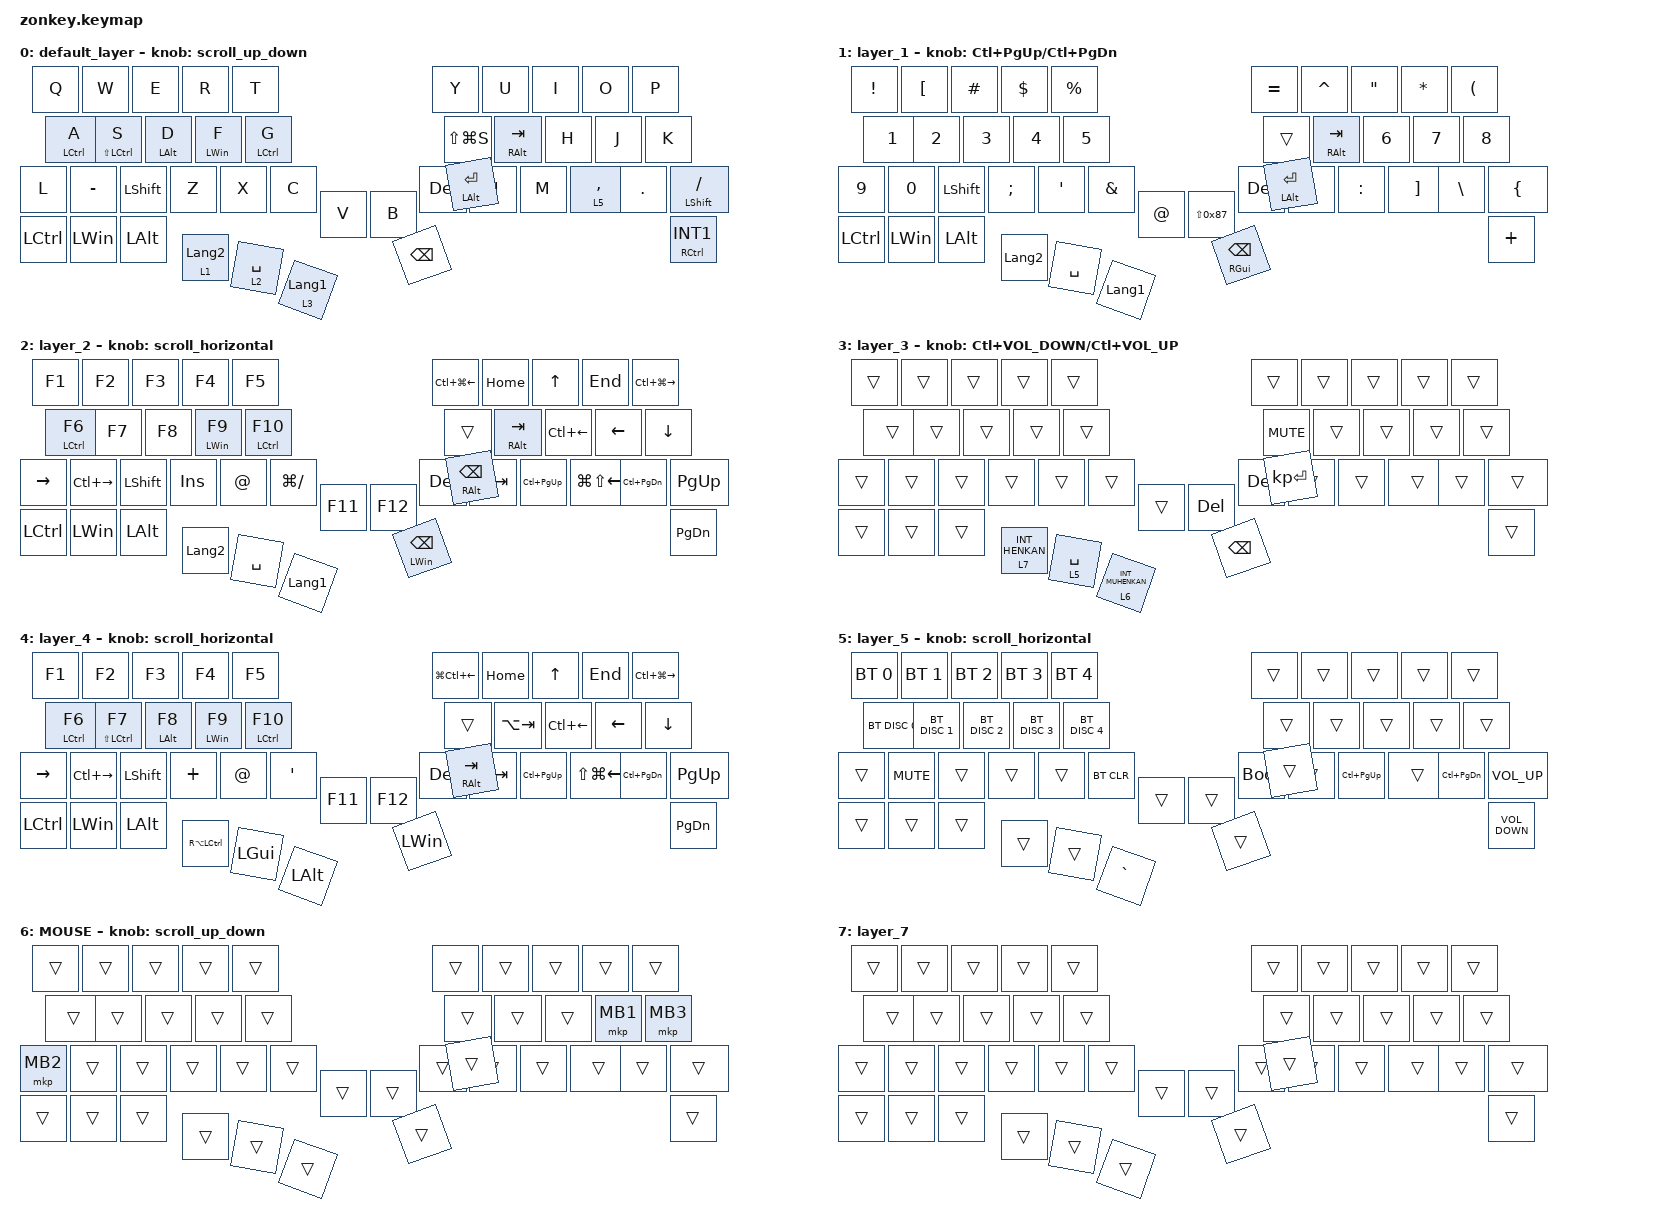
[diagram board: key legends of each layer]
#include <physical_layouts.dtsi>
#include <input/processors.dtsi>
#include <behaviors.dtsi>
#include <dt-bindings/zmk/bt.h>
#include <dt-bindings/zmk/keys.h>
#include <dt-bindings/zmk/pointing.h>

#define ZMK_POINTING_DEFAULT_SCRL_VAL 100
#define DFb 0
#define JIS 1
#define BT 4
#define MOUSE 6
#define JP_DQUOTE       AT                // "
#define JP_AMPERSAND    CARET             // &
#define JP_QUOTE        AMPERSAND         // '
#define JP_EQUAL        UNDER             // =
#define JP_CARET        EQUAL             // ^
#define JP_YEN          0x89              // ¥
#define JP_PLUS         COLON             // +
#define JP_TILDE        PLUS              // ~
#define JP_PIPE         LS(0x89)          // |
#define JP_AT           LEFT_BRACKET      // @
#define JP_COLON        SINGLE_QUOTE      // :
#define JP_ASTERISK     DOUBLE_QUOTES     // *
#define JP_BACKQUOTE    LEFT_BRACE        // `
#define JP_UNDERSCORE   LS(0x87)          // _
#define JP_LBRACKET     RIGHT_BRACKET     // [
#define JP_RBRACKET     BACKSLASH         // ]
#define JP_LPAREN       ASTERISK          // (
#define JP_RPAREN       LEFT_PARENTHESIS  // )
#define JP_LBRACEp       RIGHT_BRACE       // {
#define JP_RBRACE       PIPE              // }
#define JP_KANA         LANGUAGE_1        // かな
#define JP_EISU         LANGUAGE_2        // 英数
#define JP_HANZEN       GRAVE             // 半角/全角
#define JP_BSLH  INT1         // (backslash)

// &mkp_input_listener { input-processors = <&zip_temp_layer 6 250>; };

&mt {
    flavor = "balanced";
    quick-tap-ms = <0>;
};

/ {
    combos {
        compatible = "zmk,combos";

        tap_mb4 {
            bindings = <&mkp MB4>;
            key-positions = <19 18>;
        };

        tap_mb5 {
            bindings = <&mkp MB5>;
            key-positions = <20 19>;
        };

        tap_esc {
            bindings = <&kp ESCAPE>;
            key-positions = <1 0>;
        };

        tap_shift_caps {
            bindings = <&kp LS(CAPS)>;
            key-positions = <23 24>;
        };
    };

    macros {
        to_layer_0: to_layer_0 {
            compatible = "zmk,behavior-macro-one-param";
            #binding-cells = <1>;
            bindings = <&to 0 &macro_param_1to1 &kp MACRO_PLACEHOLDER>;
            label = "TO_LAYER_0";
        };

        new_macro: new_macro {
            compatible = "zmk,behavior-macro";
            #binding-cells = <0>;
            bindings = <&none>;
            label = "NEW_MACRO";
        };

        exit_AML: exit_AML {
            compatible = "zmk,behavior-macro";
            wait-ms = <0>;
            tap-ms = <0>;
            #binding-cells = <0>;
            bindings = <&tog_off 6>;
            label = "exit_AML";
        };

        kp_exit_AML: kp_exit_AML {
            compatible = "zmk,behavior-macro-one-param";
            wait-ms = <0>;
            tap-ms = <0>;
            #binding-cells = <1>;
            bindings = <&macro_param_1to1 &kp MACRO_PLACEHOLDER &exit_AML>;
            label = "KP_exit_AML";
        };
    };

    behaviors {
        lt_to_layer_0: lt_to_layer_0 {
            compatible = "zmk,behavior-hold-tap";
            label = "LAYER_TAP_TO_0";
            bindings = <&mo>, <&to_layer_0>;

            #binding-cells = <2>;
            tapping-term-ms = <200>;
        };

        mo2: mo2 {
            compatible = "zmk,behavior-mod-morph";
            #binding-cells = <0>;
            bindings = <&kp N2>, <&kp AT>;

            mods = <(MOD_LSFT|MOD_RSFT)>;
        };

        mo6: mo6 {
            compatible = "zmk,behavior-mod-morph";
            #binding-cells = <0>;
            bindings = <&kp N6>, <&kp CARET>;

            mods = <(MOD_LSFT|MOD_RSFT)>;
        };

        mo7: mo7 {
            compatible = "zmk,behavior-mod-morph";
            #binding-cells = <0>;
            bindings = <&kp N7>, <&kp AMPS>;

            mods = <(MOD_LSFT|MOD_RSFT)>;
        };

        mo8: mo8 {
            compatible = "zmk,behavior-mod-morph";
            #binding-cells = <0>;
            bindings = <&kp N8>, <&kp ASTRK>;

            mods = <(MOD_LSFT|MOD_RSFT)>;
        };

        mo9: mo9 {
            compatible = "zmk,behavior-mod-morph";
            #binding-cells = <0>;
            bindings = <&kp N9>, <&kp LPAR>;

            mods = <(MOD_LSFT|MOD_RSFT)>;
        };

        mo0: mo0 {
            compatible = "zmk,behavior-mod-morph";
            #binding-cells = <0>;
            bindings = <&kp N0>, <&kp LS(N9)>;

            mods = <(MOD_LSFT|MOD_RSFT)>;
        };

        moA: moA {
            compatible = "zmk,behavior-mod-morph";
            #binding-cells = <0>;
            bindings = <&kp MINUS>, <&kp UNDERSCORE>;

            mods = <(MOD_LSFT|MOD_RSFT)>;
        };

        moB: moB {
            compatible = "zmk,behavior-mod-morph";
            #binding-cells = <0>;
            bindings = <&kp EQUAL>, <&kp PLUS>;

            mods = <(MOD_LSFT|MOD_RSFT)>;
        };

        moC: moC {
            compatible = "zmk,behavior-mod-morph";
            #binding-cells = <0>;
            bindings = <&kp INT3>, <&kp JP_PIPE>;

            mods = <(MOD_LSFT|MOD_RSFT)>;
        };

        moD: moD {
            compatible = "zmk,behavior-mod-morph";
            #binding-cells = <0>;
            bindings = <&kp LBKT>, <&kp LBRC>;

            mods = <(MOD_LSFT|MOD_RSFT)>;
        };

        moE: moE {
            compatible = "zmk,behavior-mod-morph";
            #binding-cells = <0>;
            bindings = <&kp RBKT>, <&kp RBRC>;

            mods = <(MOD_LSFT|MOD_RSFT)>;
        };

        moF: moF {
            compatible = "zmk,behavior-mod-morph";
            #binding-cells = <0>;
            bindings = <&kp SEMI>, <&kp KP_PLUS>;

            mods = <(MOD_LSFT|MOD_RSFT)>;
        };

        moG: moG {
            compatible = "zmk,behavior-mod-morph";
            #binding-cells = <0>;
            bindings = <&kp APOSTROPHE>, <&kp DQT>;

            mods = <(MOD_LSFT|MOD_RSFT)>;
        };

        moH: moH {
            compatible = "zmk,behavior-mod-morph";
            #binding-cells = <0>;
            bindings = <&kp BACKSLASH>, <&kp TILDE2>;

            mods = <(MOD_LSFT|MOD_RSFT)>;
        };

        moI: moI {
            compatible = "zmk,behavior-mod-morph";
            #binding-cells = <0>;
            bindings = <&msc SCRL_DOWN>, <&msc SCRL_UP>;

            mods = <(MOD_LSFT|MOD_RSFT)>;
        };

        tog_off: toggle_layer_off {
            compatible = "zmk,behavior-toggle-layer";
            #binding-cells = <1>;
            display-name = "Toggle Layer Off";
            toggle-mode = "off";
        };

        scroll_up_down: behavior_sensor_rotate_mouse_wheel_up_down {
            compatible = "zmk,behavior-sensor-rotate";
            #sensor-binding-cells = <0>;
            bindings = <&msc SCRL_DOWN>, <&msc SCRL_UP>;

            tap-ms = <20>;
        };

        scroll_horizontal: behavior_sensor_rotate_mouse_wheel {
            compatible = "zmk,behavior-sensor-rotate";
            #sensor-binding-cells = <0>;
            bindings = <&msc SCRL_RIGHT>, <&msc SCRL_LEFT>;

            tap-ms = <20>;
        };
    };

    keymap {
        compatible = "zmk,keymap";

        default_layer {
            bindings = <
&kp Q               &kp W                   &kp E           &kp R             &kp T                                                      &kp Y          &kp U               &kp I        &kp O       &kp P
&mt LEFT_CONTROL A  &mt LS(LEFT_CONTROL) S  &mt LEFT_ALT D  &mt LEFT_WIN F    &mt LEFT_CONTROL G  &kp LS(LG(S))       &mt RIGHT_ALT TAB  &kp H          &kp J               &kp K        &kp L       &kp MINUS
&kp LEFT_SHIFT      &kp Z                   &kp X           &kp C             &kp V               &kp B               &kp DELETE         &kp N          &kp M               &lt 5 COMMA  &kp PERIOD  &mt LEFT_SHIFT SLASH
&kp LCTRL           &kp LEFT_WIN            &kp LEFT_ALT    &lt 1 LANGUAGE_2  &lt 2 SPACE         &lt 3 LANGUAGE_1                       &kp BACKSPACE  &mt LEFT_ALT ENTER                                                 &mt RIGHT_CONTROL INT1
            >;

            sensor-bindings = <&scroll_up_down>;
        };

        layer_1 {
            bindings = <
&kp EXCLAMATION   &kp LEFT_BRACKET  &kp HASH          &kp DOLLAR      &kp PERCENT                                           &kp EQUAL                &kp CARET           &kp DOUBLE_QUOTES  &kp ASTRK      &kp LEFT_PARENTHESIS
&kp NUMBER_1      &kp NUMBER_2      &kp NUMBER_3      &kp NUMBER_4    &kp NUMBER_5  &trans               &mt RIGHT_ALT TAB  &kp NUMBER_6             &kp NUMBER_7        &kp NUMBER_8       &kp NUMBER_9   &kp NUMBER_0
&kp LEFT_SHIFT    &kp SEMICOLON     &kp SINGLE_QUOTE  &kp AMPERSAND   &kp AT_SIGN   &kp JP_UNDERSCORE    &kp DEL            &kp UNDER                &kp COLON           &kp RIGHT_BRACKET  &kp BACKSLASH  &kp LEFT_BRACE
&kp LEFT_CONTROL  &kp LEFT_WIN      &kp LEFT_ALT      &kp LANGUAGE_2  &kp SPACE     &kp LANGUAGE_1                          &mt RIGHT_GUI BACKSPACE  &mt LEFT_ALT ENTER                                                          &kp PLUS
            >;

            sensor-bindings = <&inc_dec_kp LC(PAGE_UP) LC(PAGE_DOWN)>;
        };

        layer_2 {
            bindings = <
&kp F1               &kp F2                   &kp F3           &kp F4           &kp F5                                                     &kp LC(LG(LEFT_ARROW))  &kp HOME                 &kp UP_ARROW            &kp END            &kp LC(LG(RIGHT_ARROW))
&mt LEFT_CONTROL F6  &kp F7  &kp F8  &mt LEFT_WIN F9  &mt LEFT_CONTROL F10  &trans            &mt RIGHT_ALT TAB  &kp LC(LEFT_ARROW)      &kp LEFT_ARROW           &kp DOWN                &kp RIGHT          &kp LC(RIGHT)
&kp LEFT_SHIFT       &kp INS                  &kp JP_DQUOTE    &kp LG(SLASH)    &kp F11               &kp F12           &kp DELETE         &kp LG(TAB)             &kp LC(PAGE_UP)          &kp LG(LS(LEFT_ARROW))  &kp LC(PAGE_DOWN)  &kp PAGE_UP
&kp LEFT_CONTROL     &kp LEFT_WIN             &kp LEFT_ALT     &kp LANGUAGE_2   &kp SPACE             &kp LANGUAGE_1                       &mt LEFT_WIN BACKSPACE  &mt RIGHT_ALT BACKSPACE                                                                      &kp PAGE_DOWN
            >;

            sensor-bindings = <&scroll_horizontal>;
        };

        layer_3 {
            bindings = <
&trans  &trans  &trans  &trans            &trans                                      &trans         &trans        &trans  &trans  &trans
&trans  &trans  &trans  &trans            &trans       &kp C_MUTE            &trans   &trans         &trans        &trans  &trans  &trans
&trans  &trans  &trans  &trans            &trans       &kp DELETE            &kp DEL  &trans         &trans        &trans  &trans  &trans
&trans  &trans  &trans  &lt 7 INT_HENKAN  &lt 5 SPACE  &lt 6 INT_MUHENKAN             &kp BACKSPACE  &kp KP_ENTER                          &trans
            >;

            sensor-bindings = <&inc_dec_kp LC(C_VOLUME_DOWN) LC(C_VOLUME_UP)>;
        };

        layer_4 {
            bindings = <
&kp F1               &kp F2                   &kp F3           &kp F4                &kp F5                                             &kp LG(LC(LEFT_ARROW))  &kp HOME         &kp UP_ARROW            &kp END            &kp LC(LG(RIGHT_ARROW))
&mt LEFT_CONTROL F6  &mt LS(LEFT_CONTROL) F7  &mt LEFT_ALT F8  &mt LEFT_WIN F9       &mt LEFT_CONTROL F10  &trans          &kp LA(TAB)  &kp LC(LEFT_ARROW)      &kp LEFT_ARROW   &kp DOWN                &kp RIGHT          &kp LC(RIGHT)
&kp LEFT_SHIFT       &kp JP_TILDE             &kp JP_DQUOTE    &kp JP_COLON          &kp F11               &kp F12         &kp DELETE   &kp LG(TAB)             &kp LC(PAGE_UP)  &kp LS(LG(LEFT_ARROW))  &kp LC(PAGE_DOWN)  &kp PAGE_UP
&kp LEFT_CONTROL     &kp LEFT_WIN             &kp LEFT_ALT     &kp RA(LEFT_CONTROL)  &kp LEFT_GUI          &kp LEFT_ALT                 &kp LEFT_WIN            &mt RALT TAB                                                                         &kp PAGE_DOWN
            >;

            sensor-bindings = <&scroll_horizontal>;
        };

        layer_5 {
            bindings = <
&bt BT_SEL 0   &bt BT_SEL 1   &bt BT_SEL 2   &bt BT_SEL 3   &bt BT_SEL 4                             &trans  &trans           &trans  &trans             &trans
&bt BT_DISC 0  &bt BT_DISC 1  &bt BT_DISC 2  &bt BT_DISC 3  &bt BT_DISC 4  &trans       &trans       &trans  &trans           &trans  &trans             &kp C_MUTE
&trans         &trans         &trans         &bt BT_CLR     &trans         &trans       &bootloader  &trans  &kp LC(PAGE_UP)  &trans  &kp LC(PAGE_DOWN)  &kp C_VOLUME_UP
&trans         &trans         &trans         &trans         &trans         &kp GRAVE                 &trans  &trans                                                       &kp C_VOLUME_DOWN
            >;

            sensor-bindings = <&scroll_horizontal>;
        };

        MOUSE {
            bindings = <
&trans  &trans  &trans  &trans  &trans                    &trans  &trans    &trans    &trans    &trans
&trans  &trans  &trans  &trans  &trans  &trans    &trans  &trans  &mkp MB1  &mkp MB3  &mkp MB2  &trans
&trans  &trans  &trans  &trans  &trans  &trans    &trans  &trans  &trans    &trans    &trans    &trans
&trans  &trans  &trans  &trans  &trans  &trans            &trans  &trans                                &trans
            >;

            sensor-bindings = <&scroll_up_down>;
        };

        layer_7 {
            bindings = <
&trans  &trans  &trans  &trans  &trans                    &trans  &trans  &trans  &trans  &trans
&trans  &trans  &trans  &trans  &trans  &trans    &trans  &trans  &trans  &trans  &trans  &trans
&trans  &trans  &trans  &trans  &trans  &trans    &trans  &trans  &trans  &trans  &trans  &trans
&trans  &trans  &trans  &trans  &trans  &trans            &trans  &trans                          &trans
            >;
        };
    };
};
